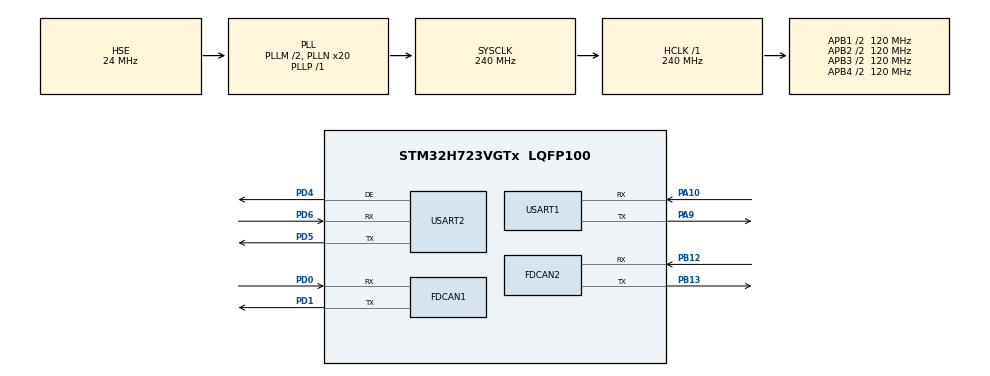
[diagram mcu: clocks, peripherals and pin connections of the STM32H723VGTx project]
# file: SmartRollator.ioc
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FDCAN1.CalculateBaudRateNominal=499999
FDCAN1.CalculateTimeBitNominal=2000
FDCAN1.CalculateTimeQuantumNominal=166.66666666666669
FDCAN1.ExtFiltersNbr=2
FDCAN1.NominalPrescaler=10
FDCAN1.NominalSyncJumpWidth=2
FDCAN1.NominalTimeSeg1=9
FDCAN1.NominalTimeSeg2=2
FDCAN1.RxFifo0ElmtsNbr=2
FDCAN1.StdFiltersNbr=1
FDCAN1.TxBuffersNbr=1
FDCAN1.TxFifoQueueElmtsNbr=3
FDCAN2.CalculateBaudRateNominal=1250000
FDCAN2.CalculateTimeBitNominal=800
FDCAN2.CalculateTimeQuantumNominal=266.6666666666667
FREERTOS.BinarySemaphores01=ForceRxSemHandle,Dynamic,NULL,Available;CANRxSemHandle,Dynamic,NULL,Available
FREERTOS.Events01=HeartbeatFlagsHandle,Dynamic,NULL;SystemStatusFlagsHandle,Dynamic,NULL
FREERTOS.Mutexes01=MonitorMutex,Dynamic,NULL,Available
FREERTOS.Queues01=ForceQueueHandle,8,ForceData_t,0,Static,ForceQueueBuffer,ForceQueueHandleControlBlock;IMUQueueHandle,8,IMUData_t,0,Static,IMUQueueBuffer,IMUQueueHandleControlBlock;IMUProcessedQueueHandle,8,IMUData_t,0,Static,IMUProcessedQueueBuffer,IMUProcessedQueueHandleControlBlock;MotorFbQueueHandle,8,MotorFb_t,0,Static,MotorFbQueueBuffer,MotorFbQueueHandleControlBlock;MotorCmdQueueHandle,8,MotorCmd_t,0,Static,MotorCmdQueueBuffer,MotorCmdQueueHandleControlBlock;LogQueueHandle,8,LogMsg_t,0,Dynamic,NULL,NULL
FREERTOS.Tasks01=ForceSensorTask,32,512,StartForceSensorTask,Default,NULL,Static,ForceSensorTaskBuffer,ForceSensorTaskControlBlock;CAN_Worker_Task,40,512,StartCAN_Worker_Task,Default,NULL,Static,CAN_Worker_TaskBuffer,CAN_Worker_TaskControlBlock;IMUtask,32,512,StartIMUtask,Default,NULL,Static,IMUtaskBuffer,IMUtaskControlBlock;ControlTask,48,1024,StartControlTask,Default,NULL,Static,ControlTaskBuffer,ControlTaskControlBlock;WatchdogTask,47,256,StartWatchdogTask,Default,NULL,Static,WatchdogTaskBuffer,WatchdogTaskControlBlock;Log_task,23,1024,StartLog_task,Default,NULL,Dynamic,NULL,NULL;MotorTxTask,49,512,StartMotorTxTask,Default,NULL,Static,MotorTxTaskBuffer,MotorTxTaskControlBlock
FREERTOS.Timers01=CtrlLoopTimerHandle,CtrlLoopTimerCallback,osTimerPeriodic,Default,NULL,Dynamic,NULL;LogFlushTimerHandle,LogFlushTimerCallback,osTimerPeriodic,Default,NULL,Dynamic,NULL
Mcu.Family=STM32H7
Mcu.Name=STM32H723VGTx
Mcu.Package=LQFP100
NVIC.FDCAN1_IT0_IRQn=true\:5\:0\:false\:false\:true\:true\:true\:true\:true
NVIC.FDCAN1_IT1_IRQn=true\:5\:0\:false\:false\:true\:true\:true\:true\:true
NVIC.PriorityGroup=NVIC_PRIORITYGROUP_4
PA10.Mode=Asynchronous
PA10.Signal=USART1_RX
PA13(JTMS/SWDIO).Mode=Serial_Wire
PA13(JTMS/SWDIO).Signal=DEBUG_JTMS-SWDIO
PA14(JTCK/SWCLK).Mode=Serial_Wire
PA14(JTCK/SWCLK).Signal=DEBUG_JTCK-SWCLK
PA9.Mode=Asynchronous
PA9.Signal=USART1_TX
PB12.Mode=FDCAN_Activate
PB12.Signal=FDCAN2_RX
PB13.Mode=FDCAN_Activate
PB13.Signal=FDCAN2_TX
PD0.Mode=FDCAN_Activate
PD0.Signal=FDCAN1_RX
PD1.Mode=FDCAN_Activate
PD1.Signal=FDCAN1_TX
PD4.Mode=Hardware Flow Control (RS485)
PD4.Signal=USART2_DE
PD5.Mode=Asynchronous
PD5.Signal=USART2_TX
PD6.Mode=Asynchronous
PD6.Signal=USART2_RX
PH0-OSC_IN.Mode=HSE-External-Oscillator
PH0-OSC_IN.Signal=RCC_OSC_IN
PH1-OSC_OUT.Mode=HSE-External-Oscillator
PH1-OSC_OUT.Signal=RCC_OSC_OUT
ProjectManager.HeapSize=0x200
ProjectManager.StackSize=0x400
ProjectManager.TargetToolchain=MDK-ARM V5.32
RCC.ADCFreq_Value=48375000
RCC.APB1Freq_Value=120000000
RCC.APB2Freq_Value=120000000
RCC.APB3Freq_Value=120000000
RCC.APB4Freq_Value=120000000
RCC.CortexFreq_Value=240000000
RCC.D1PPRE=RCC_APB3_DIV2
RCC.D2PPRE1=RCC_APB1_DIV2
RCC.D2PPRE2=RCC_APB2_DIV2
RCC.D3PPRE=RCC_APB4_DIV2
RCC.DIVM1=2
RCC.DIVN1=20
RCC.DIVP1=1
RCC.DIVQ1=4
RCC.HCLKFreq_Value=240000000
RCC.HSE_VALUE=24000000
RCC.PLL2FRACN=0
RCC.PLL3FRACN=0
RCC.PLLFRACN=0
RCC.PLLSourceVirtual=RCC_PLLSOURCE_HSE
RCC.SYSCLKFreq_VALUE=240000000
RCC.SYSCLKSource=RCC_SYSCLKSOURCE_PLLCLK
RCC.USBFreq_Value=60000000
USART1.VirtualMode-Asynchronous=VM_ASYNC
USART2.VirtualMode-Asynchronous=VM_ASYNC
USART2.VirtualMode-Hardware\ Flow\ Control\ (RS485)=VM_ASYNC
VP_FREERTOS_VS_CMSIS_V2.Mode=CMSIS_V2
VP_MEMORYMAP_VS_MEMORYMAP.Mode=CurAppReg
board=custom

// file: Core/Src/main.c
/* USER CODE BEGIN Header */
/**
  ******************************************************************************
  * @file           : main.c
  * @brief          : Main program body
  ******************************************************************************
  * @attention
  *
  * Copyright (c) 2025 STMicroelectronics.
  * All rights reserved.
  *
  * This software is licensed under terms that can be found in the LICENSE file
  * in the root directory of this software component.
  * If no LICENSE file comes with this software, it is provided AS-IS.
  *
  ******************************************************************************
  */
/* USER CODE END Header */
#include "main.h"
#include "cmsis_os.h"
#include "fdcan.h"
#include "usart.h"
#include "gpio.h"

void SystemClock_Config(void);
void MX_FREERTOS_Init(void);

int main(void)
{

  /* MCU Configuration--------------------------------------------------------*/

  /* Reset of all peripherals, Initializes the Flash interface and the Systick. */
  HAL_Init();

  /* Configure the system clock */
  SystemClock_Config();

  /* Initialize all configured peripherals */
  MX_GPIO_Init();
  MX_FDCAN1_Init();
  MX_FDCAN2_Init();
  MX_USART2_UART_Init();
  MX_USART1_UART_Init();

  /* Init scheduler */
  osKernelInitialize();  /* Call init function for freertos objects (in cmsis_os2.c) */
  MX_FREERTOS_Init();

  /* Start scheduler */
  osKernelStart();

  /* We should never get here as control is now taken by the scheduler */

  /* Infinite loop */
  while (1)
  {

  }
}

void SystemClock_Config(void)
{
  RCC_OscInitTypeDef RCC_OscInitStruct = {0};
  RCC_ClkInitTypeDef RCC_ClkInitStruct = {0};

  /** Supply configuration update enable
  */
  HAL_PWREx_ConfigSupply(PWR_LDO_SUPPLY);

  /** Configure the main internal regulator output voltage
  */
  __HAL_PWR_VOLTAGESCALING_CONFIG(PWR_REGULATOR_VOLTAGE_SCALE0);

  while(!__HAL_PWR_GET_FLAG(PWR_FLAG_VOSRDY)) {}

  /** Initializes the RCC Oscillators according to the specified parameters
  * in the RCC_OscInitTypeDef structure.
  */
  RCC_OscInitStruct.OscillatorType = RCC_OSCILLATORTYPE_HSE;
  RCC_OscInitStruct.HSEState = RCC_HSE_ON;
  RCC_OscInitStruct.PLL.PLLState = RCC_PLL_ON;
  RCC_OscInitStruct.PLL.PLLSource = RCC_PLLSOURCE_HSE;
  RCC_OscInitStruct.PLL.PLLM = 2;
  RCC_OscInitStruct.PLL.PLLN = 20;
  RCC_OscInitStruct.PLL.PLLP = 1;
  RCC_OscInitStruct.PLL.PLLQ = 4;
  RCC_OscInitStruct.PLL.PLLR = 2;
  RCC_OscInitStruct.PLL.PLLRGE = RCC_PLL1VCIRANGE_3;
  RCC_OscInitStruct.PLL.PLLVCOSEL = RCC_PLL1VCOWIDE;
  RCC_OscInitStruct.PLL.PLLFRACN = 0;
  if (HAL_RCC_OscConfig(&RCC_OscInitStruct) != HAL_OK)
  {
    Error_Handler();
  }

  /** Initializes the CPU, AHB and APB buses clocks
  */
  RCC_ClkInitStruct.ClockType = RCC_CLOCKTYPE_HCLK|RCC_CLOCKTYPE_SYSCLK
                              |RCC_CLOCKTYPE_PCLK1|RCC_CLOCKTYPE_PCLK2
                              |RCC_CLOCKTYPE_D3PCLK1|RCC_CLOCKTYPE_D1PCLK1;
  RCC_ClkInitStruct.SYSCLKSource = RCC_SYSCLKSOURCE_PLLCLK;
  RCC_ClkInitStruct.SYSCLKDivider = RCC_SYSCLK_DIV1;
  RCC_ClkInitStruct.AHBCLKDivider = RCC_HCLK_DIV1;
  RCC_ClkInitStruct.APB3CLKDivider = RCC_APB3_DIV2;
  RCC_ClkInitStruct.APB1CLKDivider = RCC_APB1_DIV2;
  RCC_ClkInitStruct.APB2CLKDivider = RCC_APB2_DIV2;
  RCC_ClkInitStruct.APB4CLKDivider = RCC_APB4_DIV2;

  if (HAL_RCC_ClockConfig(&RCC_ClkInitStruct, FLASH_LATENCY_3) != HAL_OK)
  {
    Error_Handler();
  }
}

void Error_Handler(void)
{
  __disable_irq();
  while (1)
  {
  }
}

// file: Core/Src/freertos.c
/* USER CODE BEGIN Header */
/**
  ******************************************************************************
  * File Name          : freertos.c
  * Description        : Code for freertos applications
  ******************************************************************************
  * @attention
  *
  * Copyright (c) 2025 STMicroelectronics.
  * All rights reserved.
  *
  * This software is licensed under terms that can be found in the LICENSE file
  * in the root directory of this software component.
  * If no LICENSE file comes with this software, it is provided AS-IS.
  *
  ******************************************************************************
  */
/* USER CODE END Header */

#include "FreeRTOS.h"
#include "task.h"
#include "main.h"
#include "cmsis_os.h"

/* USER CODE BEGIN Includes */
#include "user_can.h"      // 提供 CAN_Send / RPDO* / NMT_Control / Driver_Enable 等接口
#include "data_structs.h"  // ForceData_t / IMUData_t / MotorFb_t / MotorCmd_t / LogMsg_t
#include "Controller.h"
#include "cpg_control.h"
#include "torque_sensor.h"
#include <stdbool.h>
#include <string.h>
#include <stdio.h>
#include <stdlib.h>
#include <stdarg.h>   // 负责 va_list / va_start / va_end / vsnprintf

/* USER CODE END Includes */

typedef StaticTask_t osStaticThreadDef_t;
typedef StaticQueue_t osStaticMessageQDef_t;
/* USER CODE BEGIN PTD */
extern UART_HandleTypeDef huart1;   // 由 CubeMX 生成的 USART1 句柄

// 心跳标志位
#define HB_FORCE   (1u << 0)
#define HB_CAN     (1u << 1)
#define HB_IMU     (1u << 2)
#define HB_CTRL    (1u << 3)
#define HB_LOG     (1u << 4)

static monitor_snapshot_t g_mon = {0};

// ---- 串口1接收缓冲（简单行缓冲，回车触发解析）----
static uint8_t  log_rx_ch;                 // 单字节中断接收
static char     log_line_buf[64];          // 简单命令行缓冲
static uint32_t vision_frame_len = 0;
static volatile bool vision_frame_ready = false;
static volatile bool vision_frame_active = false;
static char vision_line_storage[160];

#define vision_rx_ch log_rx_ch
#define log_line_buf vision_line_storage
#define vision_frame_buf vision_line_storage
#define log_line_len vision_frame_len
#define log_line_ready vision_frame_ready

// 周期打印开关与周期
static volatile bool log_stream_on = true;
static const uint32_t LOG_PERIOD_MS = 100;
// 在 Force 任务解析后调用：更新最新力
static inline void Monitor_UpdateForce(const ForceData_t *f);

// 在控制器算完命令后调用：更新最新控制命令
static inline void Monitor_UpdateCmd(const MotorCmd_t *cmd);
static inline void Monitor_UpdateVision(const VisionPose_t *vision);
// 读取快照（Log_task 使用）
static inline void Monitor_ReadSnapshot(monitor_snapshot_t *out);
// 从队列中读取最新一条消息，丢弃旧消息
static inline osStatus_t mq_get_latest(osMessageQueueId_t q, void *item, uint32_t item_size, uint32_t timeout_ms)
{
  osStatus_t st = osMessageQueueGet(q, item, NULL, timeout_ms);
  if (st != osOK) return st;

  uint32_t remain = osMessageQueueGetCount(q);
  while (remain--)
  {
    uint8_t tmp[256];
    if (item_size > sizeof(tmp)) break;
    if (osMessageQueueGet(q, tmp, NULL, 0) == osOK) {
      memcpy(item, tmp, item_size);
    } else {
      break;
    }
  }
  return osOK;
}

static inline bool fresh(uint32_t now, uint32_t ts, uint32_t thresh_ms)
{
  return (ts != 0U) && ((now - ts) <= thresh_ms);
}

/* USER CODE END PTD */

/* Definitions for ForceSensorTask */
osThreadId_t ForceSensorTaskHandle;
uint32_t ForceSensorTaskBuffer[ 512 ];
osStaticThreadDef_t ForceSensorTaskControlBlock;
const osThreadAttr_t ForceSensorTask_attributes = {
  .name = "ForceSensorTask",
  .cb_mem = &ForceSensorTaskControlBlock,
  .cb_size = sizeof(ForceSensorTaskControlBlock),
  .stack_mem = &ForceSensorTaskBuffer[0],
  .stack_size = sizeof(ForceSensorTaskBuffer),
  .priority = (osPriority_t) osPriorityAboveNormal,
};
/* Definitions for CAN_Worker_Task */
osThreadId_t CAN_Worker_TaskHandle;
uint32_t CAN_Worker_TaskBuffer[ 512 ];
osStaticThreadDef_t CAN_Worker_TaskControlBlock;
const osThreadAttr_t CAN_Worker_Task_attributes = {
  .name = "CAN_Worker_Task",
  .cb_mem = &CAN_Worker_TaskControlBlock,
  .cb_size = sizeof(CAN_Worker_TaskControlBlock),
  .stack_mem = &CAN_Worker_TaskBuffer[0],
  .stack_size = sizeof(CAN_Worker_TaskBuffer),
  .priority = (osPriority_t) osPriorityHigh,
};
/* Definitions for IMUtask */
osThreadId_t IMUtaskHandle;
uint32_t IMUtaskBuffer[ 512 ];
osStaticThreadDef_t IMUtaskControlBlock;
const osThreadAttr_t IMUtask_attributes = {
  .name = "IMUtask",
  .cb_mem = &IMUtaskControlBlock,
  .cb_size = sizeof(IMUtaskControlBlock),
  .stack_mem = &IMUtaskBuffer[0],
  .stack_size = sizeof(IMUtaskBuffer),
  .priority = (osPriority_t) osPriorityAboveNormal,
};
/* Definitions for ControlTask */
osThreadId_t ControlTaskHandle;
uint32_t ControlTaskBuffer[ 1024 ];
osStaticThreadDef_t ControlTaskControlBlock;
const osThreadAttr_t ControlTask_attributes = {
  .name = "ControlTask",
  .cb_mem = &ControlTaskControlBlock,
  .cb_size = sizeof(ControlTaskControlBlock),
  .stack_mem = &ControlTaskBuffer[0],
  .stack_size = sizeof(ControlTaskBuffer),
  .priority = (osPriority_t) osPriorityRealtime,
};
/* Definitions for WatchdogTask */
osThreadId_t WatchdogTaskHandle;
uint32_t WatchdogTaskBuffer[ 256 ];
osStaticThreadDef_t WatchdogTaskControlBlock;
const osThreadAttr_t WatchdogTask_attributes = {
  .name = "WatchdogTask",
  .cb_mem = &WatchdogTaskControlBlock,
  .cb_size = sizeof(WatchdogTaskControlBlock),
  .stack_mem = &WatchdogTaskBuffer[0],
  .stack_size = sizeof(WatchdogTaskBuffer),
  .priority = (osPriority_t) osPriorityHigh7,
};
/* Definitions for Log_task */
osThreadId_t Log_taskHandle;
const osThreadAttr_t Log_task_attributes = {
  .name = "Log_task",
  .stack_size = 1024 * 4,
  .priority = (osPriority_t) osPriorityBelowNormal7,
};
/* Definitions for MotorTxTask */
osThreadId_t MotorTxTaskHandle;
uint32_t MotorTxTaskBuffer[ 512 ];
osStaticThreadDef_t MotorTxTaskControlBlock;
const osThreadAttr_t MotorTxTask_attributes = {
  .name = "MotorTxTask",
  .cb_mem = &MotorTxTaskControlBlock,
  .cb_size = sizeof(MotorTxTaskControlBlock),
  .stack_mem = &MotorTxTaskBuffer[0],
  .stack_size = sizeof(MotorTxTaskBuffer),
  .priority = (osPriority_t) osPriorityRealtime1,
};
/* Definitions for ForceQueueHandle */
osMessageQueueId_t ForceQueueHandleHandle;
uint8_t ForceQueueBuffer[ 8 * sizeof( ForceData_t ) ];
osStaticMessageQDef_t ForceQueueHandleControlBlock;
const osMessageQueueAttr_t ForceQueueHandle_attributes = {
  .name = "ForceQueueHandle",
  .cb_mem = &ForceQueueHandleControlBlock,
  .cb_size = sizeof(ForceQueueHandleControlBlock),
  .mq_mem = &ForceQueueBuffer,
  .mq_size = sizeof(ForceQueueBuffer)
};
/* Definitions for IMUQueueHandle */
osMessageQueueId_t IMUQueueHandleHandle;
uint8_t IMUQueueBuffer[ 8 * sizeof( IMUData_t ) ];
osStaticMessageQDef_t IMUQueueHandleControlBlock;
const osMessageQueueAttr_t IMUQueueHandle_attributes = {
  .name = "IMUQueueHandle",
  .cb_mem = &IMUQueueHandleControlBlock,
  .cb_size = sizeof(IMUQueueHandleControlBlock),
  .mq_mem = &IMUQueueBuffer,
  .mq_size = sizeof(IMUQueueBuffer)
};
/* Definitions for IMUProcessedQueueHandle */
osMessageQueueId_t IMUProcessedQueueHandleHandle;
uint8_t IMUProcessedQueueBuffer[ 8 * sizeof( IMUData_t ) ];
osStaticMessageQDef_t IMUProcessedQueueHandleControlBlock;
const osMessageQueueAttr_t IMUProcessedQueueHandle_attributes = {
  .name = "IMUProcessedQueueHandle",
  .cb_mem = &IMUProcessedQueueHandleControlBlock,
  .cb_size = sizeof(IMUProcessedQueueHandleControlBlock),
  .mq_mem = &IMUProcessedQueueBuffer,
  .mq_size = sizeof(IMUProcessedQueueBuffer)
};
/* Definitions for MotorFbQueueHandle */
osMessageQueueId_t MotorFbQueueHandleHandle;
uint8_t MotorFbQueueBuffer[ 8 * sizeof( MotorFb_t ) ];
osStaticMessageQDef_t MotorFbQueueHandleControlBlock;
const osMessageQueueAttr_t MotorFbQueueHandle_attributes = {
  .name = "MotorFbQueueHandle",
  .cb_mem = &MotorFbQueueHandleControlBlock,
  .cb_size = sizeof(MotorFbQueueHandleControlBlock),
  .mq_mem = &MotorFbQueueBuffer,
  .mq_size = sizeof(MotorFbQueueBuffer)
};
/* Definitions for MotorCmdQueueHandle */
osMessageQueueId_t MotorCmdQueueHandleHandle;
uint8_t MotorCmdQueueBuffer[ 8 * sizeof( MotorCmd_t ) ];
osStaticMessageQDef_t MotorCmdQueueHandleControlBlock;
const osMessageQueueAttr_t MotorCmdQueueHandle_attributes = {
  .name = "MotorCmdQueueHandle",
  .cb_mem = &MotorCmdQueueHandleControlBlock,
  .cb_size = sizeof(MotorCmdQueueHandleControlBlock),
  .mq_mem = &MotorCmdQueueBuffer,
  .mq_size = sizeof(MotorCmdQueueBuffer)
};
/* Definitions for LogQueueHandle */
osMessageQueueId_t LogQueueHandleHandle;
const osMessageQueueAttr_t LogQueueHandle_attributes = {
  .name = "LogQueueHandle"
};
/* Definitions for CtrlLoopTimerHandle */
osTimerId_t CtrlLoopTimerHandleHandle;
const osTimerAttr_t CtrlLoopTimerHandle_attributes = {
  .name = "CtrlLoopTimerHandle"
};
/* Definitions for LogFlushTimerHandle */
osTimerId_t LogFlushTimerHandleHandle;
const osTimerAttr_t LogFlushTimerHandle_attributes = {
  .name = "LogFlushTimerHandle"
};
/* Definitions for MonitorMutex */
osMutexId_t MonitorMutexHandle;
const osMutexAttr_t MonitorMutex_attributes = {
  .name = "MonitorMutex"
};
/* Definitions for ForceRxSemHandle */
osSemaphoreId_t ForceRxSemHandleHandle;
const osSemaphoreAttr_t ForceRxSemHandle_attributes = {
  .name = "ForceRxSemHandle"
};
/* Definitions for CANRxSemHandle */
osSemaphoreId_t CANRxSemHandleHandle;
const osSemaphoreAttr_t CANRxSemHandle_attributes = {
  .name = "CANRxSemHandle"
};
/* Definitions for HeartbeatFlagsHandle */
osEventFlagsId_t HeartbeatFlagsHandleHandle;
const osEventFlagsAttr_t HeartbeatFlagsHandle_attributes = {
  .name = "HeartbeatFlagsHandle"
};
/* Definitions for SystemStatusFlagsHandle */
osEventFlagsId_t SystemStatusFlagsHandleHandle;
const osEventFlagsAttr_t SystemStatusFlagsHandle_attributes = {
  .name = "SystemStatusFlagsHandle"
};

/* USER CODE BEGIN FunctionPrototypes */
static inline void uart1_write(const char *s);
// 打印1行（带换行）
static void uart1_printf_ln(const char *fmt, ...);
static bool parse_aruco_frame(const char *frame, VisionPose_t *out);
static bool hex_to_u8(char hi, char lo, uint8_t *out);

extern UART_HandleTypeDef huart2;
/* USER CODE END FunctionPrototypes */

void StartForceSensorTask(void *argument);
void StartCAN_Worker_Task(void *argument);
void StartIMUtask(void *argument);
void StartControlTask(void *argument);
void StartWatchdogTask(void *argument);
void StartLog_task(void *argument);
void StartMotorTxTask(void *argument);
void CtrlLoopTimerCallback(void *argument);
void LogFlushTimerCallback(void *argument);

void MX_FREERTOS_Init(void); /* (MISRA C 2004 rule 8.1) */

void MX_FREERTOS_Init(void) {
  /* Create the mutex(es) */
  /* creation of MonitorMutex */
  MonitorMutexHandle = osMutexNew(&MonitorMutex_attributes);

  /* Create the semaphores(s) */
  /* creation of ForceRxSemHandle */
  ForceRxSemHandleHandle = osSemaphoreNew(1, 1, &ForceRxSemHandle_attributes);

  /* creation of CANRxSemHandle */
  CANRxSemHandleHandle = osSemaphoreNew(1, 1, &CANRxSemHandle_attributes);

  /* Create the timer(s) */
  /* creation of CtrlLoopTimerHandle */
  CtrlLoopTimerHandleHandle = osTimerNew(CtrlLoopTimerCallback, osTimerPeriodic, NULL, &CtrlLoopTimerHandle_attributes);

  /* creation of LogFlushTimerHandle */
  LogFlushTimerHandleHandle = osTimerNew(LogFlushTimerCallback, osTimerPeriodic, NULL, &LogFlushTimerHandle_attributes);

  /* Create the queue(s) */
  /* creation of ForceQueueHandle */
  ForceQueueHandleHandle = osMessageQueueNew (8, sizeof(ForceData_t), &ForceQueueHandle_attributes);

  /* creation of IMUQueueHandle */
  IMUQueueHandleHandle = osMessageQueueNew (8, sizeof(IMUData_t), &IMUQueueHandle_attributes);

  /* creation of IMUProcessedQueueHandle */
  IMUProcessedQueueHandleHandle = osMessageQueueNew (8, sizeof(IMUData_t), &IMUProcessedQueueHandle_attributes);

  /* creation of MotorFbQueueHandle */
  MotorFbQueueHandleHandle = osMessageQueueNew (8, sizeof(MotorFb_t), &MotorFbQueueHandle_attributes);

  /* creation of MotorCmdQueueHandle */
  MotorCmdQueueHandleHandle = osMessageQueueNew (8, sizeof(MotorCmd_t), &MotorCmdQueueHandle_attributes);

  /* creation of LogQueueHandle */
  LogQueueHandleHandle = osMessageQueueNew (8, sizeof(LogMsg_t), &LogQueueHandle_attributes);

  /* Create the thread(s) */
  /* creation of ForceSensorTask */
  ForceSensorTaskHandle = osThreadNew(StartForceSensorTask, NULL, &ForceSensorTask_attributes);

  /* creation of CAN_Worker_Task */
  CAN_Worker_TaskHandle = osThreadNew(StartCAN_Worker_Task, NULL, &CAN_Worker_Task_attributes);

  /* creation of IMUtask */
  IMUtaskHandle = osThreadNew(StartIMUtask, NULL, &IMUtask_attributes);

  /* creation of ControlTask */
  ControlTaskHandle = osThreadNew(StartControlTask, NULL, &ControlTask_attributes);

  /* creation of WatchdogTask */
  WatchdogTaskHandle = osThreadNew(StartWatchdogTask, NULL, &WatchdogTask_attributes);

  /* creation of Log_task */
  Log_taskHandle = osThreadNew(StartLog_task, NULL, &Log_task_attributes);

  /* creation of MotorTxTask */
  MotorTxTaskHandle = osThreadNew(StartMotorTxTask, NULL, &MotorTxTask_attributes);

  /* creation of HeartbeatFlagsHandle */
  HeartbeatFlagsHandleHandle = osEventFlagsNew(&HeartbeatFlagsHandle_attributes);

  /* creation of SystemStatusFlagsHandle */
  SystemStatusFlagsHandleHandle = osEventFlagsNew(&SystemStatusFlagsHandle_attributes);

  /* USER CODE BEGIN RTOS_EVENTS */
	HAL_UART_Receive_IT(&huart1, &vision_rx_ch, 1);

  /* add events, ... */
  /* USER CODE END RTOS_EVENTS */

}

void StartForceSensorTask(void *argument)
{
  /* USER CODE BEGIN StartForceSensorTask */
  /* Infinite loop */
		uint8_t tx_data[8] = { 0x01, 0x03, 0x04, 0x00, 0x00, 0x0c, 0x44, 0xff };
    uint8_t rx_data[29];
    ForceData_t f1, f2;

    for (;;)
    {
        // 1) 设为发送模式（DE=1/RE=0）
        RS485_SetMode(1);

        // 2) 发送查询帧（阻塞，超时100ms）
        if (HAL_UART_Transmit(&huart2, tx_data, sizeof(tx_data), 100) == HAL_OK)
        {
            // **一定要等待发送完成**，避免马上切接收丢最后几字节
            // 如果没有专用API，可等待 TC 置位：
            while (__HAL_UART_GET_FLAG(&huart2, UART_FLAG_TC) == RESET) {
                taskYIELD();
            }
        }

        // 3) 切接收模式（DE=0/RE=1）
        RS485_SetMode(0);

        // 4) 接收固定29字节（阻塞，超时100ms）
        if (HAL_UART_Receive(&huart2, rx_data, sizeof(rx_data), 100) == HAL_OK)
        {
            // 5) 解析
            if (processForceData(rx_data, sizeof(rx_data), &f1, &f2) == 0)
            {
                // 6) 投递给控制任务（按你定义的队列）
							  uint32_t ts = HAL_GetTick();
								f1.timestamp = ts;
								f2.timestamp = ts;
                osStatus_t q1=osMessageQueuePut(ForceQueueHandleHandle, &f1, 0, 0);
//                osStatus_t q2=osMessageQueuePut(ForceQueueHandleHandle, &f2, 0, 0);
							//uart1_printf_ln("[CTRL ] qh=%p", ForceQueueHandleHandle);
							if (q1 != osOK ) {
							uart1_printf_ln("[FORCE] queue put fail q1=%d  cnt=%lu",
							q1, (unsigned long)osMessageQueueGetCount(ForceQueueHandleHandle));
}
								Monitor_UpdateForce(&f1);   // 或 &f2，看你使用哪个把手/通道

                // 心跳（可选）
             //   osEventFlagsSet(HeartbeatFlagsHandle, HEARTBEAT_FORCE);
            }
        }
        else {
            // 超时/错误：可记录日志或置 stale 标志
        }

        // 7) 周期（不要用 HAL_Delay）
        osDelay(10); // 100 Hz 采样；视传感器能力调整
    }
  /* USER CODE END StartForceSensorTask */
}

void StartCAN_Worker_Task(void *argument)
{
  for(;;)
  {
    osDelay(1);
  }
}

void StartIMUtask(void *argument)
{
  for(;;)
  {
    osDelay(1);
  }
}

void StartControlTask(void *argument)
{
  /* USER CODE BEGIN StartControlTask */
  const uint32_t CTRL_PERIOD_MS   = 1;    // 1kHz, dt = 0.001s
  const uint32_t FRESH_THRESH_MS  = 100;  // 数据新鲜度阈值
  const uint8_t  DRIVE_ID         = 0x01; // 驱动器 ID
	const uint8_t accset=0x05;//加速度到达时间 20s
  // 最近一次有效数据，传给 Controller_Run 使用
  static IMUData_t   last_imu   = {0};  // 当前 IMU 未实际接入，保留默认值
  static ForceData_t last_force = {0};
  static MotorFb_t   last_fb    = {0};

  MotorCmd_t out_cmd;
  static bool inited = false;

  // 驱动器初始化，当前在任务启动阶段执行一次
  if (!inited) {
    CAN_Init();
    RPDO1_Config(DRIVE_ID);
    Profile_Velocity_Init(DRIVE_ID,accset);
    NMT_Control(0x01, DRIVE_ID);
    Driver_Enable(DRIVE_ID);
    CPG_Init(&my_cpg);
    inited = true;
  }

  TickType_t last = xTaskGetTickCount();

  for (;;)
  {
    vTaskDelayUntil(&last, pdMS_TO_TICKS(CTRL_PERIOD_MS));
    uint32_t now = HAL_GetTick();

    // 1) 从 Force 队列中读取最新力数据
    osStatus_t st_force=mq_get_latest(ForceQueueHandleHandle, &last_force, sizeof(last_force), 0);

//		uart1_printf_ln("[FORCE] qh=%p", ForceQueueHandleHandle);
		if (st_force != osOK) {
    // 队列为空/失败：可设一个标志或偶尔打印一次
     //uart1_printf_ln("[DBG] no force msg (%d)", st_force);
			}
    // 2) 读取电机反馈，当前队列可能为空
    (void)mq_get_latest(MotorFbQueueHandleHandle, &last_fb, sizeof(last_fb), 0);
    // 3) IMU 尚未接入，Controller_Run 会收到 timestamp=0 的 last_imu

    // 4) 数据新鲜度判断，避免使用过期数据
    bool force_ok = fresh(now, last_force.timestamp, FRESH_THRESH_MS);
    bool fb_ok    = fresh(now, last_fb.timestamp,    FRESH_THRESH_MS);
    if (!force_ok) {
      // 力数据过期：清零处理
      memset(&last_force, 0, sizeof(last_force));
      last_force.timestamp = 0;
    }
    if (!fb_ok) {
      memset(&last_fb, 0, sizeof(last_fb));
      last_fb.timestamp = 0;
    }

    // 5) 控制器计算：当前主要使用力数据，预留电机反馈/IMU
    memset(&out_cmd, 0, sizeof(out_cmd));
    out_cmd.ctrl_mode = 1; // 速度模式，由 Controller_Run 继续填充命令
    out_cmd.timestamp = now;

    Controller_Run(&last_imu, &last_force, &last_fb, &out_cmd);
		Monitor_UpdateCmd(&out_cmd);
    // 6) 将 out_cmd 投递到 MotorCmd 队列，交给 MotorTxTask 发送
    (void)osMessageQueuePut(MotorCmdQueueHandleHandle, &out_cmd, 0, 0);

    // 7) 更新控制任务心跳
    osEventFlagsSet(HeartbeatFlagsHandleHandle, HB_CTRL);
		//osDelay(10);
  }
  /* USER CODE END StartControlTask */
}

void StartWatchdogTask(void *argument)
{
  for(;;)
  {
    osDelay(1);
  }
}

void StartLog_task(void *argument)
{
  /* USER CODE BEGIN StartLog_task */
  /* Infinite loop */
  /* USER CODE BEGIN StartLog_task */
  uint32_t next_tick = HAL_GetTick();

  // 欢迎/帮助
  uart1_write("\r\n[VISION] USART1 receiver ready, waiting for $ARUCO,...*CS#\r\n");

  for(;;)
  {
    // 1) 命令行解析（非阻塞）
    if (log_line_ready) {
      char cmd[160];
      size_t len;
      // 取走命令
      __disable_irq();
      strncpy(cmd, log_line_buf, sizeof(cmd));
      len = log_line_len;
      log_line_len = 0;
      log_line_ready = false;
      __enable_irq();

      if (len > 0U && cmd[0] == '$') {
        VisionPose_t vision;

        if (parse_aruco_frame(cmd, &vision)) {
          Monitor_UpdateVision(&vision);
          uart1_printf_ln("[VISION] seq=%u st=%u id=%u x=%d y=%d z=%d dist=%d",
                          (unsigned)vision.seq,
                          (unsigned)vision.status,
                          (unsigned)vision.marker_id,
                          (int)vision.x_mm,
                          (int)vision.y_mm,
                          (int)vision.z_mm,
                          (int)vision.dist_mm);
        } else {
          uart1_printf_ln("[VISION] bad frame: %s", cmd);
        }
        continue;
      }

      // 小写化（只有几条简命令可不必）
      // 解析命令
      if (len == 1 && (cmd[0]=='h' || cmd[0]=='H')) {
        uart1_write(
          "Commands:\r\n"
          "  h : help\r\n"
          "  p : print once\r\n"
          "  t : toggle periodic stream\r\n"
        );
      } else if (len == 1 && (cmd[0]=='t' || cmd[0]=='T')) {
        log_stream_on = !log_stream_on;
        uart1_printf_ln("[LOG] stream %s", log_stream_on ? "ON":"OFF");
      } else if (len == 1 && (cmd[0]=='p' || cmd[0]=='P')) {
        monitor_snapshot_t snap;
        Monitor_ReadSnapshot(&snap);
        uart1_printf_ln("F: fx=%d fy=%d fz=%d ts=%lu ms",
                        (int)snap.force.fx, (int)snap.force.fy, (int)snap.force.fz,
                        (unsigned long)snap.ts_force);
        uart1_printf_ln("CMD: mode=%u vel=%ld tq=%d ts=%lu ms",
                        (unsigned)snap.cmd.ctrl_mode,
                        (long)snap.cmd.target_vel,
                        (int)snap.cmd.target_torque,
                        (unsigned long)snap.ts_cmd);
      } else {
        uart1_printf_ln("[LOG] unknown cmd: %s", cmd);
      }
    }

    // 2) 周期打印
    if (log_stream_on) {
      uint32_t now = HAL_GetTick();
      if ((int32_t)(now - next_tick) >= 0) {
        next_tick += LOG_PERIOD_MS;

        monitor_snapshot_t snap;
        Monitor_ReadSnapshot(&snap);

        // 一行打印，便于上位机记录
        // 你也可以改为 CSV 格式：ts,fx,fy,fz,mode,vel,tq
        uart1_printf_ln("ts=%lu | F[fx=%f,fy=%f,fz=%f] | CMD[mode=%u,vel=%ld,tq=%d]",
                        (unsigned long)now,
                        (double)snap.force.fx, (double)snap.force.fy, (double)snap.force.fz,
                        (unsigned)snap.cmd.ctrl_mode, (long)snap.cmd.target_vel, (int)snap.cmd.target_torque);
      }
    }

    // 3) 降低占用
    osDelay(5);
  }
  /* USER CODE END StartLog_task */
  /* USER CODE END StartLog_task */
}

void StartMotorTxTask(void *argument)
{
  /* USER CODE BEGIN StartMotorTxTask */
  const uint8_t DRIVE_ID = 0x01;
  MotorCmd_t cmd;

  for(;;)
  {
    if (osMessageQueueGet(MotorCmdQueueHandleHandle, &cmd, NULL, osWaitForever) == osOK)
    {
      if (cmd.ctrl_mode == 1) { // 速度模式
        int16_t wheel_rpm = (int16_t)cmd.target_vel;
        int16_t left_rpm  = wheel_rpm;
        int16_t right_rpm = (int16_t)(-wheel_rpm); // 右轮安装方向相反，数值幅值与左轮严格一致
        (void)ZLAC_SetVelocity_rpm(DRIVE_ID, left_rpm, right_rpm);
      }
      // 其他控制模式可在此扩展
    }
  }
  /* USER CODE END StartMotorTxTask */
}

/* CtrlLoopTimerCallback function */
void CtrlLoopTimerCallback(void *argument)
{
}

/* LogFlushTimerCallback function */
void LogFlushTimerCallback(void *argument)
{
}

/* USER CODE BEGIN Application */
// 在 Force 任务解析后调用：更新最新力
static inline void Monitor_UpdateForce(const ForceData_t *f)
{
  if (!f) return;
  if (MonitorMutexHandle) osMutexAcquire(MonitorMutexHandle, osWaitForever);
  g_mon.force = *f;
  g_mon.ts_force = HAL_GetTick();
  if (MonitorMutexHandle) osMutexRelease(MonitorMutexHandle);
}

// 在控制器算完命令后调用：更新最新控制命令
static inline void Monitor_UpdateCmd(const MotorCmd_t *cmd)
{
  if (!cmd) return;
  if (MonitorMutexHandle) osMutexAcquire(MonitorMutexHandle, osWaitForever);
  g_mon.cmd = *cmd;
  g_mon.ts_cmd = HAL_GetTick();
  if (MonitorMutexHandle) osMutexRelease(MonitorMutexHandle);
}

// 读取快照（Log_task 使用）
static inline void Monitor_UpdateVision(const VisionPose_t *vision)
{
  if (!vision) return;
  if (MonitorMutexHandle) osMutexAcquire(MonitorMutexHandle, osWaitForever);
  g_mon.vision = *vision;
  g_mon.ts_vision = HAL_GetTick();
  if (MonitorMutexHandle) osMutexRelease(MonitorMutexHandle);
}

static inline void Monitor_ReadSnapshot(monitor_snapshot_t *out)
{
  if (!out) return;
  if (MonitorMutexHandle) osMutexAcquire(MonitorMutexHandle, osWaitForever);
  *out = g_mon;
  if (MonitorMutexHandle) osMutexRelease(MonitorMutexHandle);
}

// 中断回调：1字节到达
void HAL_UART_RxCpltCallback(UART_HandleTypeDef *huart)
{
  if (huart == &huart1)
  {
    uint8_t c = log_rx_ch;

    if (!log_line_ready) {
      if (c == '\r' || c == '\n') {
        if (log_line_len > 0) { log_line_buf[log_line_len] = '\0'; log_line_ready = true; }
      } else {
        if (log_line_len < (sizeof(log_line_buf)-1)) {
          log_line_buf[log_line_len++] = (char)c;
        } else {
          // 溢出则清空
          log_line_len = 0;
        }
      }
    }

    // 继续下一字节接收
    HAL_UART_Receive_IT(&huart1, &log_rx_ch, 1);
  }
}

// 简单串口发送（阻塞）
static inline void uart1_write(const char *s)
{
  if (!s) return;
  HAL_UART_Transmit(&huart1, (uint8_t*)s, (uint16_t)strlen(s), 50);
}

// 打印1行（带换行）
static void uart1_printf_ln(const char *fmt, ...)
{
  char buf[128];
  va_list ap;
  va_start(ap, fmt);
  int n = vsnprintf(buf, sizeof(buf), fmt, ap);
  va_end(ap);
  if (n < 0) return;
  if (n > (int)sizeof(buf)-3) n = (int)sizeof(buf)-3;
  buf[n++] = '\r'; buf[n++] = '\n'; buf[n] = '\0';
  uart1_write(buf);
}

static bool hex_to_u8(char hi, char lo, uint8_t *out)
{
  uint8_t high;
  uint8_t low;

  if (hi >= '0' && hi <= '9') high = (uint8_t)(hi - '0');
  else if (hi >= 'A' && hi <= 'F') high = (uint8_t)(hi - 'A' + 10U);
  else if (hi >= 'a' && hi <= 'f') high = (uint8_t)(hi - 'a' + 10U);
  else return false;

  if (lo >= '0' && lo <= '9') low = (uint8_t)(lo - '0');
  else if (lo >= 'A' && lo <= 'F') low = (uint8_t)(lo - 'A' + 10U);
  else if (lo >= 'a' && lo <= 'f') low = (uint8_t)(lo - 'a' + 10U);
  else return false;

  *out = (uint8_t)((high << 4) | low);
  return true;
}

static bool parse_aruco_frame(const char *frame, VisionPose_t *out)
{
  const char *asterisk;
  const char *p;
  char body[128];
  char *cursor;
  long values[10];
  uint8_t calc_cs = 0;
  uint8_t recv_cs;
  size_t body_len;
  int i;

  if ((frame == NULL) || (out == NULL) || (frame[0] != '$')) return false;

  asterisk = strchr(frame, '*');
  if (asterisk == NULL) return false;
  if ((asterisk[1] == '\0') || (asterisk[2] == '\0') || (asterisk[3] != '#')) return false;

  for (p = frame + 1; p < asterisk; ++p) {
    calc_cs ^= (uint8_t)(*p);
  }

  if (!hex_to_u8(asterisk[1], asterisk[2], &recv_cs)) return false;
  if (calc_cs != recv_cs) return false;

  body_len = (size_t)(asterisk - (frame + 1));
  if (body_len >= sizeof(body)) return false;

  memcpy(body, frame + 1, body_len);
  body[body_len] = '\0';

  if (strncmp(body, "ARUCO,", 6) != 0) return false;

  cursor = body + 6;
  for (i = 0; i < 10; ++i) {
    char *endp;

    values[i] = strtol(cursor, &endp, 10);
    if (endp == cursor) return false;
    if (i < 9) {
      if (*endp != ',') return false;
      cursor = endp + 1;
    } else if (*endp != '\0') {
      return false;
    }
  }

  out->seq = (uint16_t)values[0];
  out->status = (uint8_t)values[1];
  out->marker_id = (uint16_t)values[2];
  out->x_mm = (int16_t)values[3];
  out->y_mm = (int16_t)values[4];
  out->z_mm = (int16_t)values[5];
  out->roll_x10 = (int16_t)values[6];
  out->pitch_x10 = (int16_t)values[7];
  out->yaw_x10 = (int16_t)values[8];
  out->dist_mm = (int16_t)values[9];
  out->timestamp = HAL_GetTick();

  return true;
}
/* USER CODE END Application */
